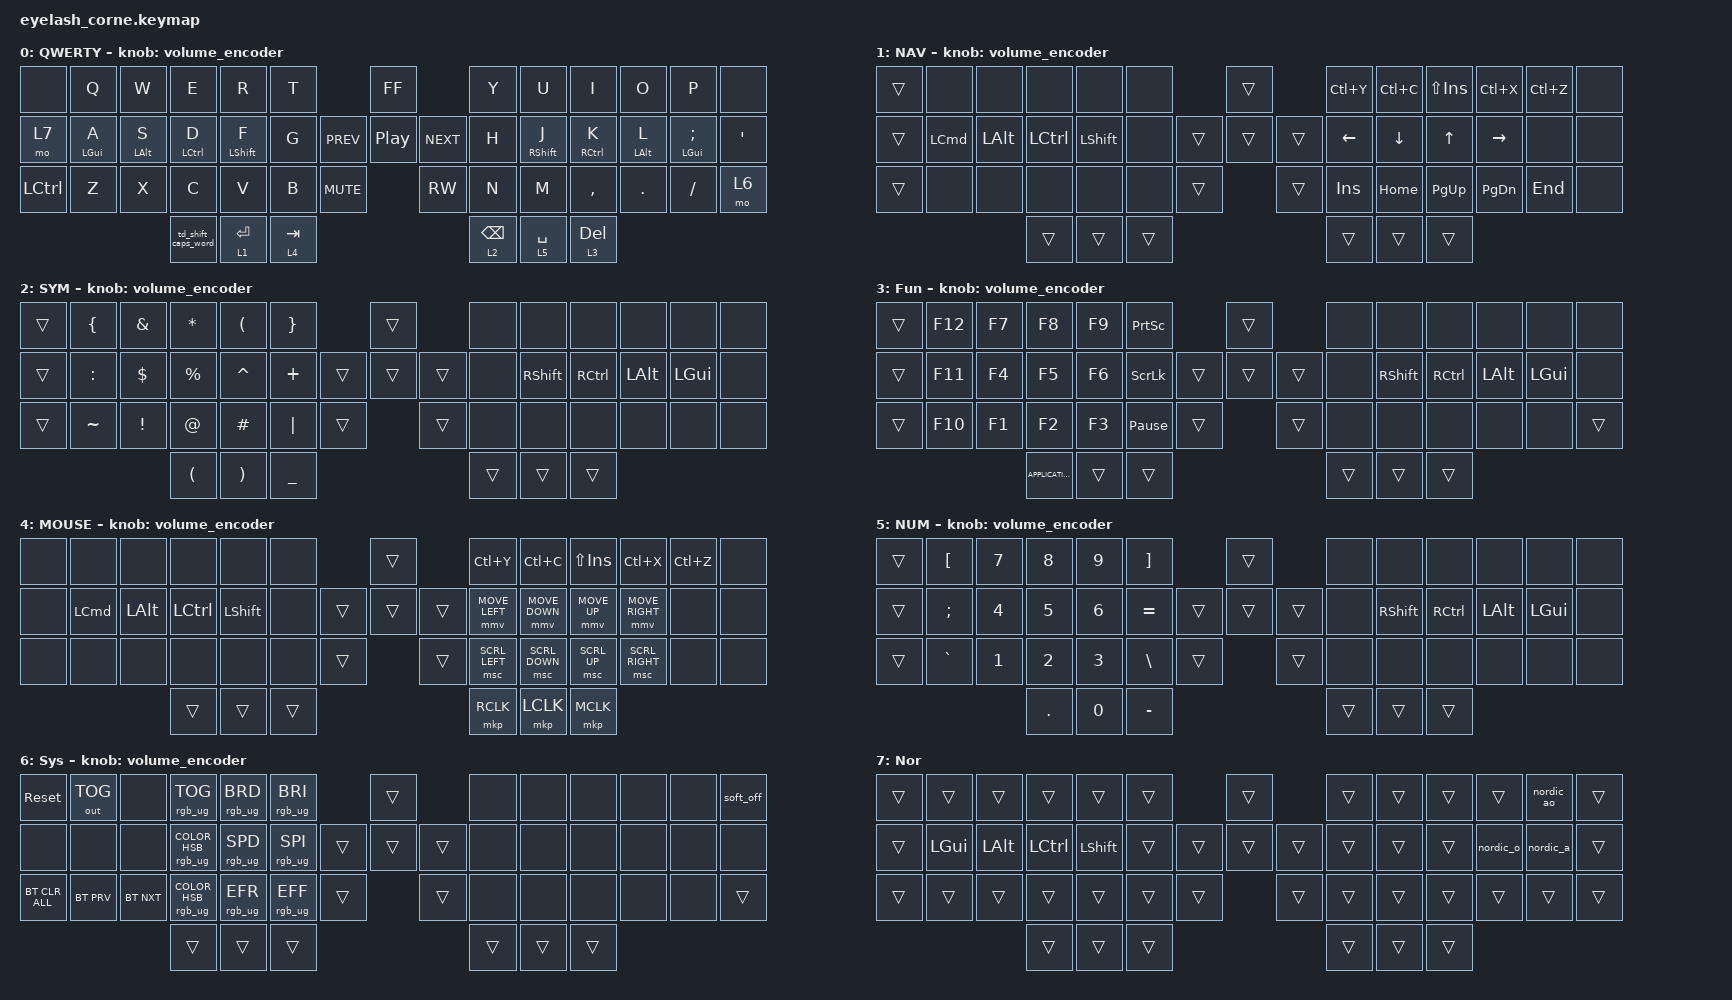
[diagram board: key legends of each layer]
#include <dt-bindings/zmk/mouse.h>
#include <input/processors.dtsi>
#include <behaviors.dtsi>
#include <dt-bindings/zmk/bt.h>
#include <dt-bindings/zmk/keys.h>
#include <dt-bindings/zmk/keys.h>
#include <dt-bindings/zmk/outputs.h>
#include <dt-bindings/zmk/pointing.h>
#include <dt-bindings/zmk/pointing.h>
#include <dt-bindings/zmk/pointing.h>
#include <dt-bindings/zmk/rgb.h>

/*

   &mmv_input_listener {
       input-processors = <&zip_xy_scaler 2 1>;
   };

   &msc_input_listener {
       input-processors = <&zip_xy_scaler 2 1>;
   };

 */

#define ZMK_MOUSE_DEFAULT_MOVE_VAL 1200  // 600
#define ZMK_MOUSE_DEFAULT_SCRL_VAL 20    // 10

/ {
    behaviors {
        volume_encoder: volume_encoder {
            compatible = "zmk,behavior-sensor-rotate";
            #sensor-binding-cells = <0>;
            bindings = <&kp C_VOLUME_UP>, <&kp C_VOLUME_DOWN>;

            tap-ms = <30>;
            label = "VOLUME_ENCODER";
        };

        td_shift_caps_word: td_shift_caps_word {
            compatible = "zmk,behavior-tap-dance";
            label = "TD_SHIFT_CAPS_WORD";
            #binding-cells = <0>;
            bindings = <&kp LEFT_SHIFT>, <&caps_word>;
        };

        hmr: hmr {
            compatible = "zmk,behavior-hold-tap";
            label = "HMR";
            bindings = <&kp>, <&kp>;

            #binding-cells = <2>;
            tapping-term-ms = <200>;
            quick-tap-ms = <175>;
            flavor = "balanced";
            hold-trigger-on-release;
            hold-trigger-key-positions = <0 1 2 3 4 5 13 14 15 16 17 18 28 29 30 31 32 33 42 43 44 45 46 47>;
        };

        hml: hml {
            compatible = "zmk,behavior-hold-tap";
            label = "HML";
            bindings = <&kp>, <&kp>;

            #binding-cells = <2>;
            tapping-term-ms = <280>;
            quick-tap-ms = <175>;
            flavor = "balanced";
            hold-trigger-key-positions = <7 8 10 11 12 22 23 24 25 26 27 36 37 38 39 40 41 45 46 47 9 44 43 42>;
            hold-trigger-on-release;
        };
    };

    rgb_encoder: rgb_encoder {
        compatible = "zmk,behavior-sensor-rotate";
        #sensor-binding-cells = <0>;
        bindings = <&rgb_ug RGB_BRI>, <&rgb_ug RGB_BRD>;
    };

    scroll_encoder: scroll_encoder {
        compatible = "zmk,behavior-sensor-rotate";
        #sensor-binding-cells = <0>;
        bindings = <&msc SCRL_DOWN>, <&msc SCRL_UP>;

        tap-ms = <30>;
    };

    combos {
        compatible = "zmk,combos";

        vim_esc {
            bindings = <&kp ESC>;
            key-positions = <23 24>;
            layers = <0>;
        };

        sleep {
            bindings = <&soft_off>;
            key-positions = <0 12>;
        };
    };

    macros {
        nordic_a: nordic_a {
            compatible = "zmk,behavior-macro";
            #binding-cells = <0>;
            bindings = <&kt LEFT_ALT &kp KP_N1 &kp KP_N3 &kp KP_N2 &kt LEFT_ALT>;
            label = "NORDIC_A";
        };

        nordic_ao: nordic_ao {
            compatible = "zmk,behavior-macro";
            #binding-cells = <0>;
            bindings = <&kt LEFT_ALT &kp KP_N1 &kp KP_N3 &kp KP_N4 &kt LEFT_ALT>;
            label = "NORDIC_AO";
        };

        nordic_o: nordic_o {
            compatible = "zmk,behavior-macro";
            #binding-cells = <0>;
            bindings = <&kt LEFT_ALT &kp KP_N1 &kp KP_N4 &kp KP_N8 &kt LEFT_ALT>;
            label = "NORDIC_O";
        };
    };

    keymap {
        compatible = "zmk,keymap";

        default_layer {
            display-name = "QWERTY";
            bindings = <
&none      &kp Q            &kp W        &kp E                &kp R          &kp T                                &kp C_FF              &kp Y       &kp U          &kp I         &kp O        &kp P           &none
&mo 7      &hml LEFT_GUI A  &hml LALT S  &hml LCTRL D         &hml LSHIFT F  &kp G                    &kp C_PREV  &kp C_PP  &kp C_NEXT  &kp H       &hmr RSHIFT J  &hmr RCTRL K  &hmr LALT L  &hmr LGUI SEMI  &kp SQT
&kp LCTRL  &kp Z            &kp X        &kp C                &kp V          &kp B      &kp C_MUTE                &kp C_RW              &kp N       &kp M          &kp COMMA     &kp DOT      &kp FSLH        &mo 6
                                         &td_shift_caps_word  &lt 1 RET      &lt 4 TAB                                                  &lt 2 BSPC  &lt 5 SPACE    &lt 3 DELETE
            >;

            sensor-bindings = <&volume_encoder>;
        };

        Navigation {
            display-name = "NAV";
            bindings = <
&trans  &none     &none         &none      &none           &none                     &trans          &kp LC(Y)   &kp LC(C)  &kp LS(INS)  &kp LC(X)      &kp LC(Z)  &none
&trans  &kp LCMD  &kp LEFT_ALT  &kp LCTRL  &kp LEFT_SHIFT  &none             &trans  &trans  &trans  &kp LEFT    &kp DOWN   &kp UP       &kp RIGHT      &none      &none
&trans  &none     &none         &none      &none           &none   &trans            &trans          &kp INSERT  &kp HOME   &kp PAGE_UP  &kp PAGE_DOWN  &kp END    &none
                                &trans     &trans          &trans                                    &trans      &trans     &trans
            >;

            sensor-bindings = <&volume_encoder>;
        };

        Symbol {
            display-name = "SYM";
            bindings = <
&trans  &kp LEFT_BRACE  &kp AMPERSAND  &kp STAR              &kp LEFT_PARENTHESIS   &kp RIGHT_BRACE                    &trans          &none   &none            &none      &none     &none     &none
&trans  &kp COLON       &kp DOLLAR     &kp PERCENT           &kp CARET              &kp PLUS                   &trans  &trans  &trans  &none   &kp RIGHT_SHIFT  &kp RCTRL  &kp LALT  &kp LGUI  &none
&trans  &kp TILDE       &kp EXCL       &kp AT                &kp HASH               &kp PIPE         &trans            &trans          &none   &none            &none      &none     &none     &none
                                       &kp LEFT_PARENTHESIS  &kp RIGHT_PARENTHESIS  &kp UNDER                                          &trans  &trans           &trans
            >;

            sensor-bindings = <&volume_encoder>;
        };

        Function {
            display-name = "Fun";
            bindings = <
&trans  &kp F12  &kp F7  &kp F8             &kp F9  &kp PRINTSCREEN                    &trans          &none   &none            &none      &none     &none     &none
&trans  &kp F11  &kp F4  &kp F5             &kp F6  &kp SCROLLLOCK             &trans  &trans  &trans  &none   &kp RIGHT_SHIFT  &kp RCTRL  &kp LALT  &kp LGUI  &none
&trans  &kp F10  &kp F1  &kp F2             &kp F3  &kp PAUSE_BREAK  &trans            &trans          &none   &none            &none      &none     &none     &trans
                         &kp K_APPLICATION  &trans  &trans                                             &trans  &trans           &trans
            >;

            sensor-bindings = <&volume_encoder>;
        };

        Mouse {
            bindings = <
&none  &none     &none         &none      &none           &none                     &trans          &kp LC(Y)       &kp LC(C)       &kp LS(INS)   &kp LC(X)        &kp LC(Z)  &none
&none  &kp LCMD  &kp LEFT_ALT  &kp LCTRL  &kp LEFT_SHIFT  &none             &trans  &trans  &trans  &mmv MOVE_LEFT  &mmv MOVE_DOWN  &mmv MOVE_UP  &mmv MOVE_RIGHT  &none      &none
&none  &none     &none         &none      &none           &none   &trans            &trans          &msc SCRL_LEFT  &msc SCRL_DOWN  &msc SCRL_UP  &msc SCRL_RIGHT  &none      &none
                               &trans     &trans          &trans                                    &mkp RCLK       &mkp LCLK       &mkp MCLK
            >;

            label = "MOUSE";
            sensor-bindings = <&volume_encoder>;
        };

        Number {
            bindings = <
&trans  &kp LEFT_BRACKET  &kp N7  &kp N8      &kp N9        &kp RIGHT_BRACKET                    &trans          &none   &none            &none      &none     &none     &none
&trans  &kp SEMICOLON     &kp N4  &kp N5      &kp N6        &kp EQUAL                    &trans  &trans  &trans  &none   &kp RIGHT_SHIFT  &kp RCTRL  &kp LALT  &kp LGUI  &none
&trans  &kp GRAVE         &kp N1  &kp N2      &kp N3        &kp BACKSLASH      &trans            &trans          &none   &none            &none      &none     &none     &none
                                  &kp PERIOD  &kp NUMBER_0  &kp MINUS                                            &trans  &trans           &trans
            >;

            label = "NUM";
            sensor-bindings = <&volume_encoder>;
        };

        System {
            bindings = <
&sys_reset      &out OUT_TOG  &none       &rgb_ug RGB_TOG                   &rgb_ug RGB_BRD  &rgb_ug RGB_BRI                    &trans          &none   &none   &none   &none  &none  &soft_off
&none           &none         &none       &rgb_ug RGB_COLOR_HSB(47,82,33)   &rgb_ug RGB_SPD  &rgb_ug RGB_SPI            &trans  &trans  &trans  &none   &none   &none   &none  &none  &none
&bt BT_CLR_ALL  &bt BT_PRV    &bt BT_NXT  &rgb_ug RGB_COLOR_HSB(223,70,51)  &rgb_ug RGB_EFR  &rgb_ug RGB_EFF  &trans            &trans          &none   &none   &none   &none  &none  &trans
                                          &trans                            &trans           &trans                                             &trans  &trans  &trans
            >;

            label = "Sys";
            sensor-bindings = <&volume_encoder>;
        };

        Nordic {
            bindings = <
&trans  &trans        &trans    &trans     &trans     &trans                    &trans          &trans  &trans  &trans  &trans     &nordic_ao  &trans
&trans  &kp LEFT_GUI  &kp LALT  &kp LCTRL  &kp LSHFT  &trans            &trans  &trans  &trans  &trans  &trans  &trans  &nordic_o  &nordic_a   &trans
&trans  &trans        &trans    &trans     &trans     &trans  &trans            &trans          &trans  &trans  &trans  &trans     &trans      &trans
                                &trans     &trans     &trans                                    &trans  &trans  &trans
            >;

            label = "Nor";
        };
    };
};
